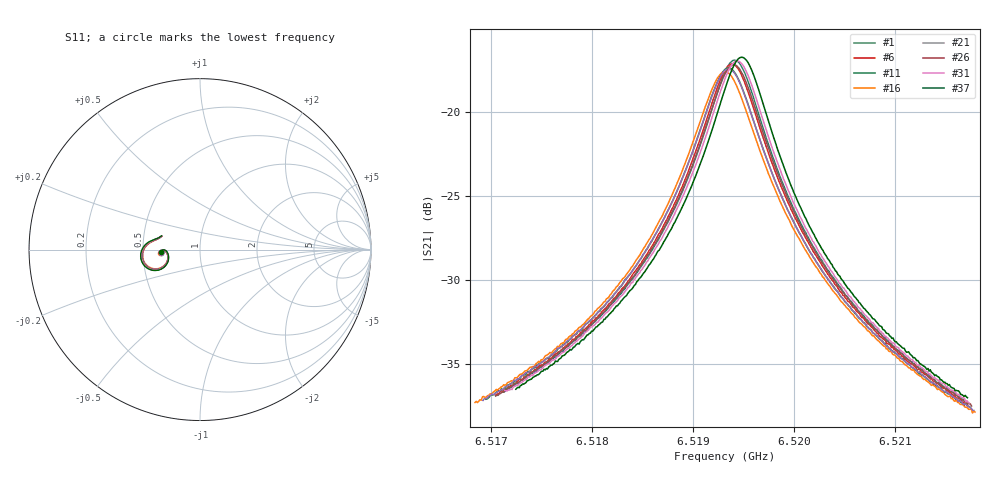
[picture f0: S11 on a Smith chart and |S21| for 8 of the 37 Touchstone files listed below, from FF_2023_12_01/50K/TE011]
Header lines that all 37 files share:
#  HZ  S  RI  R  50.00
! Rohde & Schwarz Vector Network Analyzer
! Rohde-Schwarz,ZNB20-2Port,1311601062101988,3.16
! freq[Hz]  re:S11  im:S11  re:S21  im:S21  re:S12  im:S12  re:S22  im:S22
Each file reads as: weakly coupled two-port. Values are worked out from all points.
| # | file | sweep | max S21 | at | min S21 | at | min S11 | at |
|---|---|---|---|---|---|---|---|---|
| 1 | 0_1_48.1_50.1350174_0.03_.s2p | 6.517131 GHz to 6.521691 GHz | -16.88 dB | 6.519411 GHz | -37.2 dB | 6.521691 GHz | -14.4 dB | 6.519012 GHz |
| 2 | 24_1_48.1005_50.1299019_13117.726_.s2p | 6.517105 GHz to 6.521708 GHz | -17.00 dB | 6.519407 GHz | -37.2 dB | 6.521708 GHz | -14.4 dB | 6.519004 GHz |
| 3 | 28_1_48.0929_50.1281548_15450.529_.s2p | 6.517092 GHz to 6.521713 GHz | -17.01 dB | 6.519403 GHz | -37.3 dB | 6.521713 GHz | -14.4 dB | 6.518975 GHz |
| 4 | 43_1_48.0994_50.1168861_25189.654_.s2p | 6.517059 GHz to 6.521722 GHz | -17.08 dB | 6.51939 GHz | -37.4 dB | 6.521722 GHz | -14.4 dB | 6.518971 GHz |
| 5 | 44_1_48.0984_50.1170387_25720.061_.s2p | 6.517059 GHz to 6.521719 GHz | -17.10 dB | 6.519389 GHz | -37.5 dB | 6.521719 GHz | -14.4 dB | 6.518981 GHz |
| 6 | 50_1_48.0999_50.1113052_29163.365_.s2p | 6.517049 GHz to 6.521722 GHz | -17.12 dB | 6.519385 GHz | -37.5 dB | 6.521722 GHz | -14.4 dB | 6.518965 GHz |
| 7 | 69_1_48.1016_50.0912781_40613.824_.s2p | 6.51703 GHz to 6.521711 GHz | -17.12 dB | 6.51937 GHz | -37.4 dB | 6.521699 GHz | -14.4 dB | 6.518949 GHz |
| 8 | 73_1_48.0971_50.0871811_43182.371_.s2p | 6.517019 GHz to 6.521715 GHz | -17.15 dB | 6.519367 GHz | -37.4 dB | 6.521703 GHz | -14.4 dB | 6.518956 GHz |
| 9 | 94_1_48.099_50.0688477_55802.969_.s2p | 6.516959 GHz to 6.521747 GHz | -17.31 dB | 6.519353 GHz | -37.7 dB | 6.521747 GHz | -14.4 dB | 6.51891 GHz |
| 10 | 95_1_48.1001_50.0684662_56354.605_.s2p | 6.516955 GHz to 6.521751 GHz | -17.33 dB | 6.519353 GHz | -37.6 dB | 6.521739 GHz | -14.4 dB | 6.518933 GHz |
| 11 | 98_1_48.1006_50.0671806_58120.344_.s2p | 6.516947 GHz to 6.521754 GHz | -17.35 dB | 6.519351 GHz | -37.7 dB | 6.521754 GHz | -14.4 dB | 6.518918 GHz |
| 12 | 110_1_48.1026_50.0566406_65249.789_.s2p | 6.516915 GHz to 6.52177 GHz | -17.43 dB | 6.519342 GHz | -37.7 dB | 6.521745 GHz | -14.4 dB | 6.518917 GHz |
| 13 | 122_1_48.1004_50.0442886_72485.063_.s2p | 6.516876 GHz to 6.52179 GHz | -17.52 dB | 6.519333 GHz | -37.8 dB | 6.521778 GHz | -14.3 dB | 6.518891 GHz |
| 14 | 123_1_48.0976_50.0437584_73321.742_.s2p | 6.516883 GHz to 6.521782 GHz | -17.52 dB | 6.519333 GHz | -37.8 dB | 6.52177 GHz | -14.3 dB | 6.518916 GHz |
| 15 | 128_1_48.1004_50.0392876_76214.203_.s2p | 6.516863 GHz to 6.521793 GHz | -17.56 dB | 6.519328 GHz | -37.9 dB | 6.521793 GHz | -14.3 dB | 6.518897 GHz |
| 16 | 165_1_48.0996_50.0295067_82174.422_.s2p | 6.516843 GHz to 6.52179 GHz | -17.58 dB | 6.519329 GHz | -37.9 dB | 6.521765 GHz | -14.3 dB | 6.518896 GHz |
| 17 | 172_1_48.1014_50.0375748_78188.969_.s2p | 6.516863 GHz to 6.521781 GHz | -17.54 dB | 6.519322 GHz | -37.8 dB | 6.521769 GHz | -14.3 dB | 6.518904 GHz |
| 18 | 180_1_48.101_50.0468903_73335.313_.s2p | 6.51688 GHz to 6.521781 GHz | -17.49 dB | 6.51933 GHz | -37.8 dB | 6.521769 GHz | -14.4 dB | 6.518914 GHz |
| 19 | 182_1_48.1027_50.0488586_72206.578_.s2p | 6.516889 GHz to 6.521778 GHz | -17.48 dB | 6.519333 GHz | -37.8 dB | 6.521765 GHz | -14.4 dB | 6.518918 GHz |
| 20 | 187_1_48.0934_50.0551453_69021.313_.s2p | 6.516897 GHz to 6.521781 GHz | -17.46 dB | 6.519339 GHz | -37.8 dB | 6.521781 GHz | -14.4 dB | 6.518911 GHz |
| 21 | 196_1_48.1_50.0639839_63667.805_.s2p | 6.516922 GHz to 6.521779 GHz | -17.41 dB | 6.519351 GHz | -37.8 dB | 6.521767 GHz | -14.4 dB | 6.518926 GHz |
| 22 | 198_1_48.101_50.0658798_62499.555_.s2p | 6.516928 GHz to 6.521777 GHz | -17.39 dB | 6.519353 GHz | -37.7 dB | 6.521777 GHz | -14.4 dB | 6.518916 GHz |
| 23 | 207_1_48.1022_50.0788612_57086.891_.s2p | 6.516958 GHz to 6.521771 GHz | -17.35 dB | 6.519365 GHz | -37.6 dB | 6.521759 GHz | -14.4 dB | 6.518919 GHz |
| 24 | 209_1_48.0978_50.0832596_55948.414_.s2p | 6.516962 GHz to 6.521772 GHz | -17.34 dB | 6.519367 GHz | -37.7 dB | 6.52176 GHz | -14.4 dB | 6.518934 GHz |
| 25 | 224_1_48.0975_50.0998764_46830.711_.s2p | 6.51701 GHz to 6.521763 GHz | -17.24 dB | 6.519386 GHz | -37.6 dB | 6.521763 GHz | -14.4 dB | 6.518971 GHz |
| 26 | 237_1_48.0994_50.1155891_39080.469_.s2p | 6.517048 GHz to 6.521756 GHz | -17.16 dB | 6.519402 GHz | -37.5 dB | 6.521756 GHz | -14.4 dB | 6.51899 GHz |
| 27 | 240_1_48.0978_50.1196709_37372.051_.s2p | 6.517059 GHz to 6.521752 GHz | -17.14 dB | 6.519406 GHz | -37.5 dB | 6.521752 GHz | -14.4 dB | 6.518983 GHz |
| 28 | 242_1_48.0986_50.1222496_36253.605_.s2p | 6.51706 GHz to 6.521756 GHz | -17.12 dB | 6.519408 GHz | -37.4 dB | 6.521756 GHz | -14.4 dB | 6.518985 GHz |
| 29 | 250_1_48.1004_50.1316643_31350.527_.s2p | 6.517091 GHz to 6.521744 GHz | -17.07 dB | 6.519417 GHz | -37.4 dB | 6.521744 GHz | -14.5 dB | 6.518998 GHz |
| 30 | 260_1_48.1002_50.1446304_25378.656_.s2p | 6.517124 GHz to 6.521734 GHz | -16.99 dB | 6.519429 GHz | -37.3 dB | 6.521734 GHz | -14.5 dB | 6.519014 GHz |
| 31 | 266_1_48.0963_50.1506424_21683.113_.s2p | 6.51714 GHz to 6.521733 GHz | -16.93 dB | 6.519436 GHz | -37.3 dB | 6.521733 GHz | -14.5 dB | 6.519012 GHz |
| 32 | 273_1_48.1033_50.15485_17399.172_.s2p | 6.517168 GHz to 6.52172 GHz | -16.88 dB | 6.519444 GHz | -37.2 dB | 6.52172 GHz | -14.5 dB | 6.519023 GHz |
| 33 | 281_1_48.1061_50.1630669_12831.48_.s2p | 6.517195 GHz to 6.521712 GHz | -16.80 dB | 6.519454 GHz | -37.0 dB | 6.521712 GHz | -14.5 dB | 6.519047 GHz |
| 34 | 286_1_48.0996_50.1657333_9701.78_.s2p | 6.517214 GHz to 6.521704 GHz | -16.74 dB | 6.519459 GHz | -37.1 dB | 6.521704 GHz | -14.5 dB | 6.519066 GHz |
| 35 | 290_1_48.1006_50.1693802_7421.883_.s2p | 6.517228 GHz to 6.5217 GHz | -16.72 dB | 6.519464 GHz | -37.1 dB | 6.5217 GHz | -14.5 dB | 6.51905 GHz |
| 36 | 304_1_48.0983_50.1699905_-0.346_.s2p | 6.517256 GHz to 6.521714 GHz | -16.70 dB | 6.519485 GHz | -37.0 dB | 6.521714 GHz | -14.5 dB | 6.519084 GHz |
| 37 | 306_1_48.0976_50.1705208_-0.346_.s2p | 6.517248 GHz to 6.521715 GHz | -16.71 dB | 6.519481 GHz | -37.0 dB | 6.521715 GHz | -14.5 dB | 6.519079 GHz |
